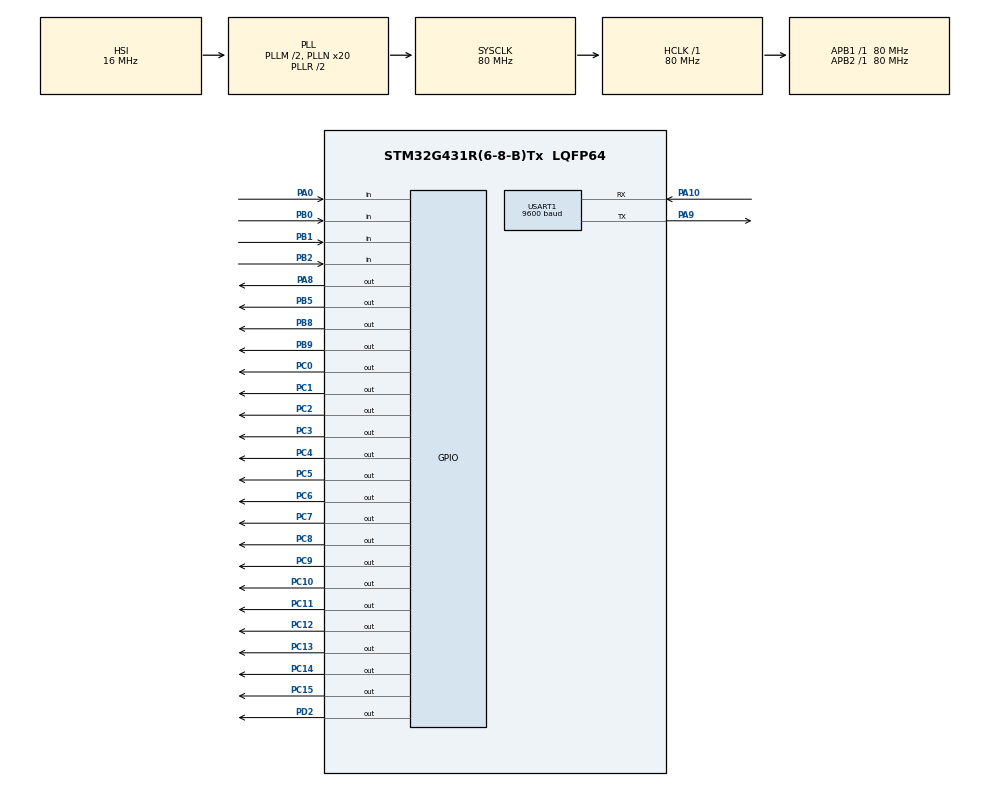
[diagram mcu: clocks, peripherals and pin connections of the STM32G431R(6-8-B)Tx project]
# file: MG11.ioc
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Mcu.Family=STM32G4
Mcu.Name=STM32G431R(6-8-B)Tx
Mcu.Package=LQFP64
NVIC.PriorityGroup=NVIC_PRIORITYGROUP_4
NVIC.TIM1_BRK_TIM15_IRQn=true\:0\:0\:false\:false\:true\:true\:true\:true
NVIC.USART1_IRQn=true\:0\:0\:false\:false\:true\:true\:true\:true
PA0.Signal=GPIO_Input
PA10.Mode=Asynchronous
PA10.Signal=USART1_RX
PA8.Signal=GPIO_Output
PA9.Mode=Asynchronous
PA9.Signal=USART1_TX
PB0.Signal=GPIO_Input
PB1.Signal=GPIO_Input
PB2.Signal=GPIO_Input
PB5.Signal=GPIO_Output
PB8-BOOT0.Signal=GPIO_Output
PB9.Signal=GPIO_Output
PC0.Signal=GPIO_Output
PC1.Signal=GPIO_Output
PC10.Signal=GPIO_Output
PC11.Signal=GPIO_Output
PC12.Signal=GPIO_Output
PC13.Signal=GPIO_Output
PC14-OSC32_IN.Signal=GPIO_Output
PC15-OSC32_OUT.Signal=GPIO_Output
PC2.Signal=GPIO_Output
PC3.Signal=GPIO_Output
PC4.Signal=GPIO_Output
PC5.Signal=GPIO_Output
PC6.Signal=GPIO_Output
PC7.Signal=GPIO_Output
PC8.Signal=GPIO_Output
PC9.Signal=GPIO_Output
PD2.Signal=GPIO_Output
PF0-OSC_IN.Mode=HSE-External-Oscillator
PF0-OSC_IN.Signal=RCC_OSC_IN
PF1-OSC_OUT.Mode=HSE-External-Oscillator
PF1-OSC_OUT.Signal=RCC_OSC_OUT
ProjectManager.HeapSize=0x200
ProjectManager.StackSize=0x400
ProjectManager.TargetToolchain=MDK-ARM V5
RCC.ADC12Freq_Value=80000000
RCC.AHBFreq_Value=80000000
RCC.APB1Freq_Value=80000000
RCC.APB1TimFreq_Value=80000000
RCC.APB2Freq_Value=80000000
RCC.APB2TimFreq_Value=80000000
RCC.CortexFreq_Value=80000000
RCC.EXTERNAL_CLOCK_VALUE=12288000
RCC.HCLKFreq_Value=80000000
RCC.HSE_VALUE=24000000
RCC.HSI48_VALUE=48000000
RCC.HSI_VALUE=16000000
RCC.LSE_VALUE=32768
RCC.PLLM=RCC_PLLM_DIV2
RCC.PLLN=20
RCC.SYSCLKFreq_VALUE=80000000
RCC.SYSCLKSource=RCC_SYSCLKSOURCE_PLLCLK
RCC.USBFreq_Value=80000000
RCC.VCOOutputFreq_Value=160000000
RTC.AsynchPrediv=31
RTC.Hours=11
RTC.Minutes=59
RTC.Seconds=50
RTC.SynchPrediv=999
TIM15.AutoReloadPreload=TIM_AUTORELOAD_PRELOAD_ENABLE
TIM15.PeriodNoDither=999
TIM15.Prescaler=7999
USART1.BaudRate=9600
USART1.VirtualMode-Asynchronous=VM_ASYNC
VP_RTC_VS_RTC_Activate.Mode=RTC_Enabled
VP_RTC_VS_RTC_Calendar.Mode=RTC_Calendar
VP_SYS_VS_DBSignals.Mode=DisableDeadBatterySignals
VP_TIM15_VS_ClockSourceINT.Mode=Internal
board=custom

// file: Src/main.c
/* USER CODE BEGIN Header */
/**
  ******************************************************************************
  * @file           : main.c
  * @brief          : Main program body
  ******************************************************************************
  * @attention
  *
  * <h2><center>&copy; Copyright (c) 2021 STMicroelectronics.
  * All rights reserved.</center></h2>
  *
  * This software component is licensed by ST under BSD 3-Clause license,
  * the "License"; You may not use this file except in compliance with the
  * License. You may obtain a copy of the License at:
  *                        opensource.org/licenses/BSD-3-Clause
  *
  ******************************************************************************
  */
/* USER CODE END Header */

#include "main.h"
#include "rtc.h"
#include "tim.h"
#include "usart.h"
#include "gpio.h"

/* USER CODE BEGIN Includes */
#include "led.h"
#include "key.h"
#include "stdio.h"
#include "string.h"

/* USER CODE END Includes */

void SystemClock_Config(void);

/* USER CODE BEGIN 0 */
#define Display_MAIN 0
#define Display_SETTING 1

u8 Display_Mode = 0;

//1

//2

u8 tim_chose = 0;//0小时，1分钟，2秒
u8 hour_set,min_set,sec_set;

//LED
uint32_t ledTick = 0;
u8 led_ctrl = 0x00;
void Led_Process(void)
{

}

//RTC
//显示
RTC_TimeTypeDef sTime = {0};
RTC_DateTypeDef sDate = {0};
void RTC_Process(void)
{
	HAL_RTC_GetTime(&hrtc,&sTime,RTC_FORMAT_BIN);
	HAL_RTC_GetDate(&hrtc,&sDate,RTC_FORMAT_BIN);

}

//设置
void Set_Time(u8 hour,u8 min,u8 sec)
{
	RTC_TimeTypeDef setTime = {0};

	setTime.Hours = hour;
	setTime.Minutes = min;
	setTime.Seconds = sec;

	HAL_RTC_SetTime(&hrtc,&setTime,RTC_FORMAT_BIN);

}

//KEY
uint32_t keyTick = 0;

//B1-//按键双击切屏幕
u8 B1_flag = 0;
extern u32 B1_cnt;

//B3
_Bool B3_flag = 0;
u32 B3_1s_cnt = 0;
void Key_Process(void)
{
	if(uwTick - keyTick < 20) return;
	keyTick = uwTick;

	Key_Read();

	if(Trg & 0x01)
	{
		B1_flag++; //双击间隔

		if(B1_flag == 2)
		{
			  B1_flag = 0;
				B1_cnt = 0;
				LCD_Clear(Black);
				Display_Mode = (Display_Mode + 1)%2;
				if(Display_Mode == Display_SETTING)
				{
					tim_chose = 0;
					hour_set = sTime.Hours;
					min_set = sTime.Minutes;
					sec_set = sTime.Seconds;
				}

				if(Display_Mode == Display_MAIN)
				{
					Set_Time(hour_set,min_set,sec_set);
				}

		}

	}

	if(Trg & 0x02)
	{
		if(Display_Mode == Display_SETTING)
		{
			tim_chose = (tim_chose + 1)%3;
		}
	}

	if(Trg & 0x04)
	{
		if(Display_Mode == Display_SETTING)
		{
			if(tim_chose == 0)
				if(hour_set< 23)
					hour_set++;

			if(tim_chose == 1)
				if(min_set< 59)
					min_set++;

			if(tim_chose == 2)
				if(sec_set< 59)
					sec_set++;
		}

	}

	if(Trg & 0x08)
	{
		if(Display_Mode == Display_SETTING)
		{
			if(tim_chose == 0)
				if(hour_set > 0)
					hour_set--;

			if(tim_chose == 1)
				if(min_set > 0)
					min_set--;

			if(tim_chose == 2)
				if(sec_set > 0)
					sec_set--;
		}
	}

	if(Cont & 0x04)
	{
		B3_flag = 1;
	}
	else
	{
		B3_flag = 0;
		B3_1s_cnt = 0;
	}

}

//UART
//发送
u8 tx_buf[100] = {"你好hello!\r\n"};

//接受
u8 uart_buf[2];
u8 rx_buf[100];
u8 rx_cnt = 0;

uint32_t uartTick = 0;
void Rx_Idle(void)
{
	if(uwTick - uartTick < 50) return;
	uartTick = uwTick;

	if(rx_cnt > 0)
	{
		rx_cnt = 0;
		memset(rx_buf,'\0',sizeof(rx_buf));
	}

}

void HAL_UART_RxCpltCallback(UART_HandleTypeDef *huart)
{
	uartTick = uwTick;
	HAL_UART_Receive_IT(&huart1,uart_buf,1);
  rx_buf[rx_cnt++] = uart_buf[0];

	if(uart_buf[0] == '\n')
	{
		//Led_Control(rx_buf[1]);
		//HAL_UART_Transmit(&huart1,rx_buf,3,50); //发送定长，可以首字符为00
		printf("%s",rx_buf); //printf发送第一个字符为00时，无法正常发送
		//printf("\r\n");//0d 0a
		memset(rx_buf,'\0',sizeof(rx_buf));
	}
}

//LCD
uint32_t lcdTick = 0;
void LCD_Process(void)
{
	if(uwTick - lcdTick < 100) return;
	lcdTick = uwTick;

	u8 display_buf[30];
	u8 i;

	if(Display_Mode == Display_MAIN)
	{
		sprintf((char*)display_buf,"     MAIN");
		LCD_DisplayStringLine(Line0,display_buf);

		sprintf((char*)display_buf,"   %02d:%02d:%02d",sTime.Hours,sTime.Minutes,sTime.Seconds);
		LCD_DisplayStringLine(Line2,display_buf);
	}

	if(Display_Mode == Display_SETTING)
	{
		sprintf((char*)display_buf,"     SETTING");
		LCD_DisplayStringLine(Line0,display_buf);

		sprintf((char*)display_buf,"   %02d:%02d:%02d         ",hour_set,min_set,sec_set);//单个字符显示一定要加空格补足
		////////////////////////////012 34 5 67 8 9 10
		//LCD_DisplayStringLine(Line2,display_buf);

		for(i = 0;i< 20;i++)
		{
			if(tim_chose == 0)
			{
				if(i == 3 || i == 4)
				{
					LCD_SetTextColor(Red);
					LCD_DisplayChar(Line2,320-16*i,display_buf[i]);
					LCD_SetTextColor(White);
				}
				else
				LCD_DisplayChar(Line2,320-16*i,display_buf[i]);
			}

			if(tim_chose == 1)
			{
				if(i == 6 || i == 7)
				{
					LCD_SetTextColor(Red);
					LCD_DisplayChar(Line2,(320-16*i),display_buf[i]);
					LCD_SetTextColor(White);
				}
				else
				LCD_DisplayChar(Line2,(320-16*i),display_buf[i]);
			}

			if(tim_chose == 2)
			{
				if(i == 9 || i == 10)
				{
					LCD_SetTextColor(Red);
					LCD_DisplayChar(Line2,(320-16*i),display_buf[i]);
					LCD_SetTextColor(White);
				}
				else
				LCD_DisplayChar(Line2,(320-16*i),display_buf[i]);
			}

		}
	}

}

//100ms

#define idle 5 //没个多少百毫秒加一次

//B1双击间隔
u32 B1_cnt = 0;
void HAL_TIM_PeriodElapsedCallback(TIM_HandleTypeDef *htim)
{

	if(B3_flag == 1) //1s后响应
	{
		B3_1s_cnt++;
		if(B3_1s_cnt >= 10)
		{
			B3_1s_cnt = (10 - idle);  //第一次响应后每500ms加一次

			if(Display_Mode == Display_SETTING)
			{
				if(tim_chose == 0)
					if(hour_set< 23)
						hour_set++;

				if(tim_chose == 1)
					if(min_set< 59)
						min_set++;

				if(tim_chose == 2)
					if(sec_set< 59)
						sec_set++;
			}

		}
	}

	//B1
	if(B1_flag == 1) //双击间隔500ms
	{
		B1_cnt++;
		if(B1_cnt >= 5)
		{
			B1_cnt = 0;
			B1_flag = 0;
		}
	}

}

/* USER CODE END 0 */

int main(void)
{

  /* MCU Configuration--------------------------------------------------------*/

  /* Reset of all peripherals, Initializes the Flash interface and the Systick. */
  HAL_Init();

  /* Configure the system clock */
  SystemClock_Config();

  /* Initialize all configured peripherals */
  MX_GPIO_Init();
  MX_RTC_Init();
  MX_USART1_UART_Init();
  MX_TIM15_Init();
  /* USER CODE BEGIN 2 */

    LCD_Init();

		//TIM
		HAL_TIM_Base_Start_IT(&htim15);
  /* USER CODE END 2 */

  /* Infinite loop */
  /* USER CODE BEGIN WHILE */

    LCD_Clear(Black);
    LCD_SetBackColor(Black);
    LCD_SetTextColor(White);

//    LCD_DrawLine(120, 0, 320, Horizontal);
//    LCD_DrawLine(0, 160, 240, Vertical);
//    HAL_Delay(1000);
//    LCD_Clear(Blue);

//    LCD_DrawRect(70, 210, 100, 100);
//    HAL_Delay(1000);
//    LCD_Clear(Blue);

//    LCD_DrawCircle(120, 160, 50);
//    HAL_Delay(1000);

//    LCD_Clear(Blue);
//    LCD_DisplayStringLine(Line4, (unsigned char *)"    Hello,world.   ");
//    HAL_Delay(1000);

//    LCD_SetBackColor(White);
//    LCD_DisplayStringLine(Line0, (unsigned char *)"                    ");
//    LCD_SetBackColor(Black);
//    LCD_DisplayStringLine(Line1, (unsigned char *)"                    ");
//    LCD_SetBackColor(Grey);
//    LCD_DisplayStringLine(Line2, (unsigned char *)"                    ");
//    LCD_SetBackColor(Blue);
//    LCD_DisplayStringLine(Line3, (unsigned char *)"                    ");
//    LCD_SetBackColor(Blue2);
//    LCD_DisplayStringLine(Line4, (unsigned char *)"                    ");
//    LCD_SetBackColor(Red);
//    LCD_DisplayStringLine(Line5, (unsigned char *)"                    ");
//    LCD_SetBackColor(Magenta);
//    LCD_DisplayStringLine(Line6, (unsigned char *)"                    ");
//    LCD_SetBackColor(Green);
//    LCD_DisplayStringLine(Line7, (unsigned char *)"                    ");
//    LCD_SetBackColor(Cyan);
//    LCD_DisplayStringLine(Line8, (unsigned char *)"                    ");
//    LCD_SetBackColor(Yellow);
//    LCD_DisplayStringLine(Line9, (unsigned char *)"                    ");

		Led_Control(0x00);
    while (1)
    {
    /* USER CODE END WHILE */

    /* USER CODE BEGIN 3 */
			Key_Process();
			LCD_Process();
			RTC_Process();

    }
  /* USER CODE END 3 */
}

void SystemClock_Config(void)
{
  RCC_OscInitTypeDef RCC_OscInitStruct = {0};
  RCC_ClkInitTypeDef RCC_ClkInitStruct = {0};
  RCC_PeriphCLKInitTypeDef PeriphClkInit = {0};

  /** Configure the main internal regulator output voltage
  */
  HAL_PWREx_ControlVoltageScaling(PWR_REGULATOR_VOLTAGE_SCALE1);
  /** Initializes the CPU, AHB and APB busses clocks
  */
  RCC_OscInitStruct.OscillatorType = RCC_OSCILLATORTYPE_HSI|RCC_OSCILLATORTYPE_LSI;
  RCC_OscInitStruct.HSIState = RCC_HSI_ON;
  RCC_OscInitStruct.HSICalibrationValue = RCC_HSICALIBRATION_DEFAULT;
  RCC_OscInitStruct.LSIState = RCC_LSI_ON;
  RCC_OscInitStruct.PLL.PLLState = RCC_PLL_ON;
  RCC_OscInitStruct.PLL.PLLSource = RCC_PLLSOURCE_HSI;
  RCC_OscInitStruct.PLL.PLLM = RCC_PLLM_DIV2;
  RCC_OscInitStruct.PLL.PLLN = 20;
  RCC_OscInitStruct.PLL.PLLP = RCC_PLLP_DIV2;
  RCC_OscInitStruct.PLL.PLLQ = RCC_PLLQ_DIV2;
  RCC_OscInitStruct.PLL.PLLR = RCC_PLLR_DIV2;
  if (HAL_RCC_OscConfig(&RCC_OscInitStruct) != HAL_OK)
  {
    Error_Handler();
  }
  /** Initializes the CPU, AHB and APB busses clocks
  */
  RCC_ClkInitStruct.ClockType = RCC_CLOCKTYPE_HCLK|RCC_CLOCKTYPE_SYSCLK
                              |RCC_CLOCKTYPE_PCLK1|RCC_CLOCKTYPE_PCLK2;
  RCC_ClkInitStruct.SYSCLKSource = RCC_SYSCLKSOURCE_PLLCLK;
  RCC_ClkInitStruct.AHBCLKDivider = RCC_SYSCLK_DIV1;
  RCC_ClkInitStruct.APB1CLKDivider = RCC_HCLK_DIV1;
  RCC_ClkInitStruct.APB2CLKDivider = RCC_HCLK_DIV1;

  if (HAL_RCC_ClockConfig(&RCC_ClkInitStruct, FLASH_LATENCY_3) != HAL_OK)
  {
    Error_Handler();
  }
  /** Initializes the peripherals clocks
  */
  PeriphClkInit.PeriphClockSelection = RCC_PERIPHCLK_RTC|RCC_PERIPHCLK_USART1;
  PeriphClkInit.Usart1ClockSelection = RCC_USART1CLKSOURCE_PCLK2;
  PeriphClkInit.RTCClockSelection = RCC_RTCCLKSOURCE_LSI;

  if (HAL_RCCEx_PeriphCLKConfig(&PeriphClkInit) != HAL_OK)
  {
    Error_Handler();
  }
}

void Error_Handler(void)
{
}

/************************ (C) COPYRIGHT STMicroelectronics *****END OF FILE****/
